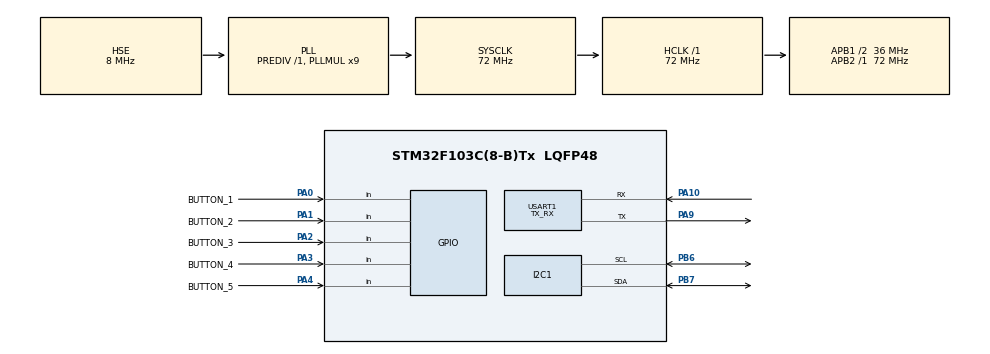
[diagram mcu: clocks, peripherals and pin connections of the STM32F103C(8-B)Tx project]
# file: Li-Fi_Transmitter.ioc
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Mcu.Family=STM32F1
RCC.PLLSourceVirtual=RCC_PLLSOURCE_HSE
PA2.GPIO_PuPd=GPIO_PULLUP
PD1-OSC_OUT.Mode=HSE-External-Oscillator
PA10.Mode=Asynchronous
PA3.GPIO_PuPd=GPIO_PULLUP
PD0-OSC_IN.Signal=RCC_OSC_IN
RCC.APB1CLKDivider=RCC_HCLK_DIV2
RCC.SYSCLKSource=RCC_SYSCLKSOURCE_PLLCLK
ProjectManager.StackSize=0x400
PA0-WKUP.GPIO_Label=BUTTON_1
PA0-WKUP.Signal=GPIO_Input
PD1-OSC_OUT.Signal=RCC_OSC_OUT
PA13.Signal=SYS_JTMS-SWDIO
PA9.Mode=Asynchronous
ProjectManager.TargetToolchain=STM32CubeIDE
I2C1.I2C_Mode=I2C_Fast
RCC.HCLKFreq_Value=72000000
RCC.APB2TimFreq_Value=72000000
PA9.Signal=USART1_TX
USART1.Parity=PARITY_NONE
PB6.Signal=I2C1_SCL
PB6.Mode=I2C
RCC.USBFreq_Value=72000000
PA1.GPIO_PuPd=GPIO_PULLUP
PA1.Signal=GPIO_Input
RCC.AHBFreq_Value=72000000
PD0-OSC_IN.Mode=HSE-External-Oscillator
PA4.GPIO_PuPd=GPIO_PULLUP
board=custom
RCC.PLLMUL=RCC_PLL_MUL9
RCC.APB2Freq_Value=72000000
USART1.Mode=MODE_TX_RX
PA14.Mode=Serial_Wire
PA1.GPIO_Label=BUTTON_2
PB7.Signal=I2C1_SDA
PA13.Mode=Serial_Wire
Mcu.Name=STM32F103C(8-B)Tx
PA2.Signal=GPIO_Input
PA4.Signal=GPIO_Input
RCC.SYSCLKFreq_VALUE=72000000
Mcu.Package=LQFP48
RCC.EnbaleCSS=true
USART1.VirtualMode=VM_ASYNC
PA2.GPIO_Label=BUTTON_3
PB7.Mode=I2C
PA10.Signal=USART1_RX
PA14.Signal=SYS_JTCK-SWCLK
ProjectManager.HeapSize=0x200
NVIC.PriorityGroup=NVIC_PRIORITYGROUP_4
RCC.APB1TimFreq_Value=72000000
PA0-WKUP.GPIO_PuPd=GPIO_PULLUP
NVIC.USART1_IRQn=true\:0\:0\:false\:false\:true\:true\:true
RCC.APB1Freq_Value=36000000
PA4.GPIO_Label=BUTTON_5
PA3.GPIO_Label=BUTTON_4
PA3.Signal=GPIO_Input

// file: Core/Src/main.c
/* USER CODE BEGIN Header */
/**
  ******************************************************************************
  * @file           : main.c (Transmitter)
  * @brief          : Transmitter Main program body
  ******************************************************************************
  * @attention
  *
  * <h2><center>&copy; Copyright (c) 2021 STMicroelectronics.
  * All rights reserved.</center></h2>
  *
  * This software component is licensed by ST under BSD 3-Clause license,
  * the "License"; You may not use this file except in compliance with the
  * License. You may obtain a copy of the License at:
  *                        opensource.org/licenses/BSD-3-Clause
  *
  ******************************************************************************
  */
/* USER CODE END Header */
#include "main.h"

/* USER CODE BEGIN Includes */
#include "string.h"
#include "i2c-lcd.h"
/* USER CODE END Includes */

I2C_HandleTypeDef hi2c1;

UART_HandleTypeDef huart1;

/* USER CODE BEGIN PV */
char* msg_begin = "\nSTATUS: TRANSMITTER ACTIVE\n";
char* messages_char = "0_|@#*~";
char* messages[10] = {"      NO MESSAGE", "           SLOW!", "           STOP!", "          GO ON!", "       GIVE WAY!", "ATTN: AMBULANCE!", " ATTN: FOGGY WX!", " ATTN: ICE ROAD!"};

int msg = 0;
/* USER CODE END PV */

void SystemClock_Config(void);
static void MX_GPIO_Init(void);
static void MX_USART1_UART_Init(void);
static void MX_I2C1_Init(void);
/* USER CODE BEGIN PFP */
void LCD_PrintMessage(char* str);
int Send_Message(char* message, char message_char);
/* USER CODE END PFP */

int main(void)
{

  /* MCU Configuration--------------------------------------------------------*/

  /* Reset of all peripherals, Initializes the Flash interface and the Systick. */
  HAL_Init();

  /* Configure the system clock */
  SystemClock_Config();

  /* Initialize all configured peripherals */
  MX_GPIO_Init();
  MX_USART1_UART_Init();
  MX_I2C1_Init();
  /* USER CODE BEGIN 2 */

  HAL_Delay(2000);

  lcd_init();

  lcd_put_cur(0,0);
  lcd_send_string("V2V SERIAL      ");
  lcd_put_cur(1,0);
  lcd_send_string("   COMMUNICATION");

  HAL_Delay(1500);

  lcd_put_cur(0,0);
  lcd_send_string("WITH            ");
  lcd_put_cur(1,0);
  lcd_send_string("  LIGHT FIDELITY");

  HAL_Delay(1500);

  lcd_put_cur(0,0);
  lcd_send_string("BY YETKIN AKYUZ");
  lcd_put_cur(1,0);
  lcd_send_string(" yetkinakyuz.com");

  HAL_Delay(2000);

  lcd_clear();

  lcd_put_cur(0,0);
  lcd_send_string("TX STATUS:      ");
  HAL_Delay(500);
  lcd_put_cur(1,0);
  lcd_send_string("       ACTIVATED");

  for (int i = 0; i < strlen(msg_begin); i++)
  {
  	  HAL_UART_Transmit(&huart1, (uint8_t *)&msg_begin[i], 1, HAL_MAX_DELAY);

  	  HAL_Delay(0.1);
    }

  HAL_Delay(3000);

  lcd_clear();

  /* USER CODE END 2 */

  /* Infinite loop */
  /* USER CODE BEGIN WHILE */
  while (1)
  {
	  if(!HAL_GPIO_ReadPin(GPIOA, BUTTON_1_Pin))
	  {
		  HAL_Delay(50);
		  while(!HAL_GPIO_ReadPin(GPIOA, BUTTON_1_Pin));
		  HAL_Delay(50);

		  if(msg == 1)
		  {
			  msg = Send_Message(messages[msg], messages_char[msg]);
		  }

		  else
		  {
			  msg = 1;

			  LCD_PrintMessage(messages[msg]);
		  }

	  }

	  else if(!HAL_GPIO_ReadPin(GPIOA, BUTTON_2_Pin))
	  {
		  HAL_Delay(50);
		  while(!HAL_GPIO_ReadPin(GPIOA, BUTTON_2_Pin));
		  HAL_Delay(50);

		  if(msg == 2)
		  {
			  msg = Send_Message(messages[msg], messages_char[msg]);
		  }

		  else
		  {
			  msg = 2;

			  LCD_PrintMessage(messages[msg]);
		  }

	  }

	  else if(!HAL_GPIO_ReadPin(GPIOA, BUTTON_3_Pin))
	  {
		  HAL_Delay(50);
		  while(!HAL_GPIO_ReadPin(GPIOA, BUTTON_3_Pin));
		  HAL_Delay(50);

		  if(msg == 3)
		  {
			  msg = Send_Message(messages[msg], messages_char[msg]);
		  }

		  else
		  {
			  msg = 3;

			  LCD_PrintMessage(messages[msg]);
		  }

	  }

	  else if(!HAL_GPIO_ReadPin(GPIOA, BUTTON_4_Pin))
	  {
		  HAL_Delay(50);
		  while(!HAL_GPIO_ReadPin(GPIOA, BUTTON_4_Pin));
		  HAL_Delay(50);

		  if(msg == 4)
		  {
			  msg = Send_Message(messages[msg], messages_char[msg]);
		  }

		  else
		  {
			  msg = 4;

			  LCD_PrintMessage(messages[msg]);
		  }

	  }

	  else if(!HAL_GPIO_ReadPin(GPIOA, BUTTON_5_Pin))
	  {
		  HAL_Delay(50);
		  while(!HAL_GPIO_ReadPin(GPIOA, BUTTON_5_Pin));
		  HAL_Delay(50);

		  if(msg == 5)
		  {
			  msg = Send_Message(messages[msg], messages_char[msg]);
		  }

		  else
		  {
			  msg = 5;

			  LCD_PrintMessage(messages[msg]);
		  }
	  }
    /* USER CODE END WHILE */

  }
}

void SystemClock_Config(void)
{
  RCC_OscInitTypeDef RCC_OscInitStruct = {0};
  RCC_ClkInitTypeDef RCC_ClkInitStruct = {0};

  /** Initializes the RCC Oscillators according to the specified parameters
  * in the RCC_OscInitTypeDef structure.
  */
  RCC_OscInitStruct.OscillatorType = RCC_OSCILLATORTYPE_HSE;
  RCC_OscInitStruct.HSEState = RCC_HSE_ON;
  RCC_OscInitStruct.HSEPredivValue = RCC_HSE_PREDIV_DIV1;
  RCC_OscInitStruct.HSIState = RCC_HSI_ON;
  RCC_OscInitStruct.PLL.PLLState = RCC_PLL_ON;
  RCC_OscInitStruct.PLL.PLLSource = RCC_PLLSOURCE_HSE;
  RCC_OscInitStruct.PLL.PLLMUL = RCC_PLL_MUL9;
  if (HAL_RCC_OscConfig(&RCC_OscInitStruct) != HAL_OK)
  {
    Error_Handler();
  }
  /** Initializes the CPU, AHB and APB buses clocks
  */
  RCC_ClkInitStruct.ClockType = RCC_CLOCKTYPE_HCLK|RCC_CLOCKTYPE_SYSCLK
                              |RCC_CLOCKTYPE_PCLK1|RCC_CLOCKTYPE_PCLK2;
  RCC_ClkInitStruct.SYSCLKSource = RCC_SYSCLKSOURCE_PLLCLK;
  RCC_ClkInitStruct.AHBCLKDivider = RCC_SYSCLK_DIV1;
  RCC_ClkInitStruct.APB1CLKDivider = RCC_HCLK_DIV2;
  RCC_ClkInitStruct.APB2CLKDivider = RCC_HCLK_DIV1;

  if (HAL_RCC_ClockConfig(&RCC_ClkInitStruct, FLASH_LATENCY_2) != HAL_OK)
  {
    Error_Handler();
  }
  /** Enables the Clock Security System
  */
  HAL_RCC_EnableCSS();
}

static void MX_I2C1_Init(void)
{

  hi2c1.Instance = I2C1;
  hi2c1.Init.ClockSpeed = 400000;
  hi2c1.Init.DutyCycle = I2C_DUTYCYCLE_2;
  hi2c1.Init.OwnAddress1 = 0;
  hi2c1.Init.AddressingMode = I2C_ADDRESSINGMODE_7BIT;
  hi2c1.Init.DualAddressMode = I2C_DUALADDRESS_DISABLE;
  hi2c1.Init.OwnAddress2 = 0;
  hi2c1.Init.GeneralCallMode = I2C_GENERALCALL_DISABLE;
  hi2c1.Init.NoStretchMode = I2C_NOSTRETCH_DISABLE;
  if (HAL_I2C_Init(&hi2c1) != HAL_OK)
  {
    Error_Handler();
  }

}

static void MX_USART1_UART_Init(void)
{

  huart1.Instance = USART1;
  huart1.Init.BaudRate = 115200;
  huart1.Init.WordLength = UART_WORDLENGTH_8B;
  huart1.Init.StopBits = UART_STOPBITS_1;
  huart1.Init.Parity = UART_PARITY_NONE;
  huart1.Init.Mode = UART_MODE_TX_RX;
  huart1.Init.HwFlowCtl = UART_HWCONTROL_NONE;
  huart1.Init.OverSampling = UART_OVERSAMPLING_16;
  if (HAL_UART_Init(&huart1) != HAL_OK)
  {
    Error_Handler();
  }

}

static void MX_GPIO_Init(void)
{
  GPIO_InitTypeDef GPIO_InitStruct = {0};

  /* GPIO Ports Clock Enable */
  __HAL_RCC_GPIOD_CLK_ENABLE();
  __HAL_RCC_GPIOA_CLK_ENABLE();
  __HAL_RCC_GPIOB_CLK_ENABLE();

  /*Configure GPIO pins : BUTTON_1_Pin BUTTON_2_Pin BUTTON_3_Pin BUTTON_4_Pin
                           BUTTON_5_Pin */
  GPIO_InitStruct.Pin = BUTTON_1_Pin|BUTTON_2_Pin|BUTTON_3_Pin|BUTTON_4_Pin
                          |BUTTON_5_Pin;
  GPIO_InitStruct.Mode = GPIO_MODE_INPUT;
  GPIO_InitStruct.Pull = GPIO_PULLUP;
  HAL_GPIO_Init(GPIOA, &GPIO_InitStruct);

}

/* USER CODE BEGIN 4 */
void LCD_PrintMessage(char* str)
{
	lcd_put_cur(0,0);
	lcd_send_string("MESSAGE:        ");

	lcd_put_cur(1,0);
	lcd_send_string (str);
}

int Send_Message(char* message, char message_char)
{
	HAL_UART_Transmit(&huart1, (uint8_t *)&message_char, 1, 1000);

	lcd_put_cur(0,0);
	lcd_send_string("MESSAGE SENT:   ");

	lcd_put_cur(1,0);
	lcd_send_string (message);

	return 0;
}

void HAL_UART_RxCpltCallback(UART_HandleTypeDef *huart) {
	__NOP();
}

void HAL_UART_TxCpltCallback(UART_HandleTypeDef *huart) {

	__NOP();

	//HAL_UART_Transmit_IT(&huart1, (uint8_t *)"", 1, 1);
}
/* USER CODE END 4 */

void Error_Handler(void)
{
  __disable_irq();
  while (1)
  {
  }
}

/************************ (C) COPYRIGHT STMicroelectronics *****END OF FILE****/
